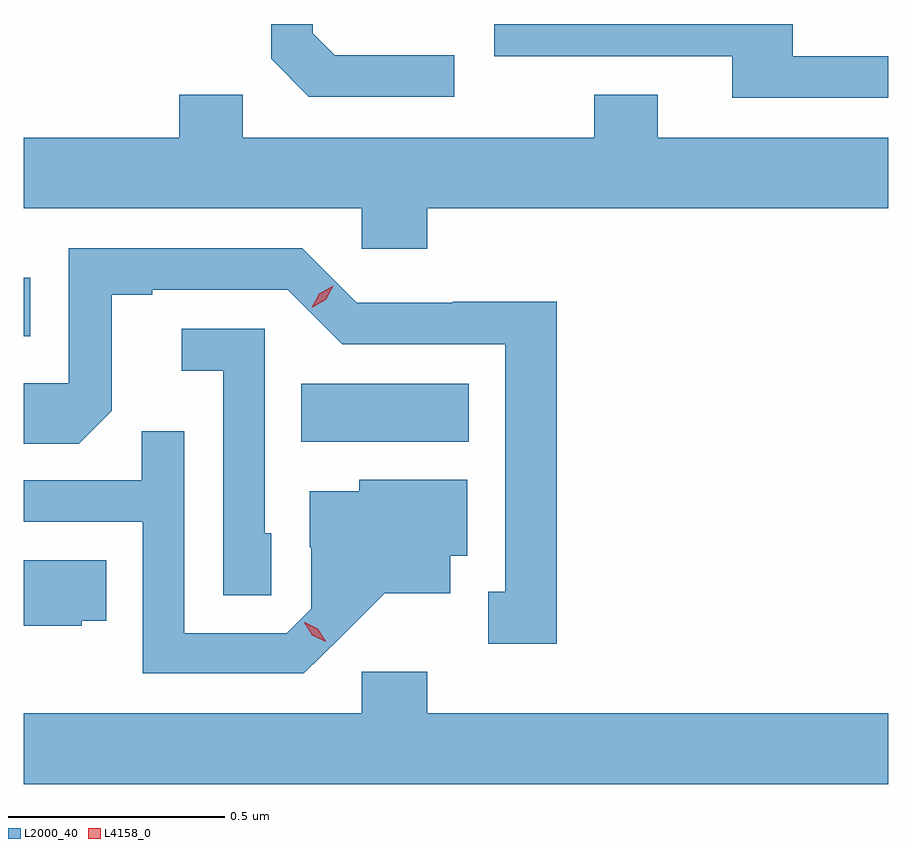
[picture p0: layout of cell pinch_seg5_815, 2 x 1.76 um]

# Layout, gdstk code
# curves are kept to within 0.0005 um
import gdstk
lib = gdstk.Library(unit=1e-6, precision=1e-09)
def R(c, l, rs):  # rectangles x0, y0, x1, y1
    for r in rs: c.add(gdstk.rectangle(r[:2], r[2:], *l))
def P(c, l, *ps):  # polygons
    for p in ps: c.add(gdstk.Polygon(p, *l))
L2000_40 = (2000, 40)
L4158_0 = (4158, 0)

pinch_seg5_815 = lib.new_cell('pinch_seg5_815')
R(pinch_seg5_815, L2000_40, [(781.834,912.164,782.221,912.298), (781.192,912.408,781.207,912.544)])
P(pinch_seg5_815, L2000_40, [(783.192,913.056),(782.971,913.056),(782.971,913.131),(782.28,913.131),(782.28,913.056),(782.831,913.056),(782.831,912.96),(783.192,912.96)],
  [(782.188,913.059),(781.911,913.059),(781.86,913.11),(781.86,913.131),(781.764,913.131),(781.764,913.05),(781.851,912.963),(782.188,912.963)],
  [(782.126,912.704),(783.192,912.704),(783.192,912.868),(782.659,912.868),(782.659,912.967),(782.512,912.967),(782.512,912.868),(781.698,912.868),(781.698,912.967),(781.552,912.967),(781.552,912.868),(781.192,912.868),(781.192,912.704),(781.974,912.704),(781.974,912.611),(782.126,912.611)],
  [(782.425,912.488),(782.184,912.488),(782.184,912.486),(781.962,912.486),(781.836,912.612),(781.296,912.612),(781.296,912.3),(781.192,912.3),(781.192,912.16),(781.319,912.16),(781.395,912.236),(781.395,912.504),(781.489,912.504),(781.489,912.516),(781.803,912.516),(781.929,912.39),(782.306,912.39),(782.306,911.817),(782.267,911.817),(782.267,911.697),(782.425,911.697)],
  [(781.764,911.952),(781.749,911.952),(781.749,912.426),(781.557,912.426),(781.557,912.329),(781.653,912.329),(781.653,911.809),(781.764,911.809)],
  [(781.924,911.711),(782.027,911.813),(782.179,911.813),(782.179,911.9),(782.218,911.9),(782.218,912.076),(781.968,912.076),(781.968,912.049),(781.853,912.049),(781.853,911.92),(781.857,911.92),(781.857,911.778),(781.8,911.721),(781.563,911.721),(781.563,912.188),(781.465,912.188),(781.465,912.075),(781.192,912.075),(781.192,911.979),(781.467,911.979),(781.467,911.628),(781.84,911.628)],
  [(781.326,911.75),(781.382,911.75),(781.382,911.89),(781.192,911.89),(781.192,911.738),(781.326,911.738)],
  [(783.192,911.536),(782.126,911.536),(782.126,911.632),(781.974,911.632),(781.974,911.536),(781.192,911.536),(781.192,911.372),(783.192,911.372)])
P(pinch_seg5_815, L4158_0, [(781.858,912.474),(781.858,912.474),(781.876,912.507),(781.908,912.525),(781.908,912.525),(781.908,912.525),(781.89,912.493),(781.858,912.474)],
  [(781.89,911.701),(781.859,911.716),(781.841,911.746),(781.841,911.746),(781.842,911.746),(781.872,911.731),(781.89,911.702),(781.89,911.701)])

lib.write_gds('pinch_seg5_815.gds')
